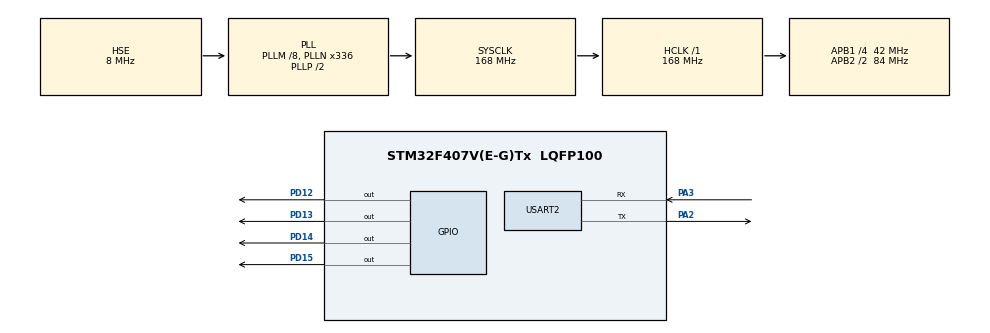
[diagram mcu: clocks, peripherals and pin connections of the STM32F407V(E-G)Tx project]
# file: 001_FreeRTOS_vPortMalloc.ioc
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FREERTOS.Tasks01=defaultTask,24,128,StartDefaultTask,Default,NULL,Dynamic,NULL,NULL
Mcu.Family=STM32F4
Mcu.Name=STM32F407V(E-G)Tx
Mcu.Package=LQFP100
NVIC.PriorityGroup=NVIC_PRIORITYGROUP_4
NVIC.TIM8_TRG_COM_TIM14_IRQn=true\:15\:0\:false\:false\:true\:false\:false\:true\:true
NVIC.TimeBase=TIM8_TRG_COM_TIM14_IRQn
NVIC.TimeBaseIP=TIM14
NVIC.USART2_IRQn=true\:5\:0\:false\:false\:true\:true\:true\:true\:true
PA2.Mode=Asynchronous
PA2.Signal=USART2_TX
PA3.Mode=Asynchronous
PA3.Signal=USART2_RX
PD12.Signal=GPIO_Output
PD13.Signal=GPIO_Output
PD14.Signal=GPIO_Output
PD15.Signal=GPIO_Output
PH0-OSC_IN.Mode=HSE-External-Oscillator
PH0-OSC_IN.Signal=RCC_OSC_IN
PH1-OSC_OUT.Mode=HSE-External-Oscillator
PH1-OSC_OUT.Signal=RCC_OSC_OUT
ProjectManager.HeapSize=0x200
ProjectManager.StackSize=0x400
ProjectManager.TargetToolchain=STM32CubeIDE
RCC.48MHZClocksFreq_Value=48000000
RCC.AHBFreq_Value=168000000
RCC.APB1CLKDivider=RCC_HCLK_DIV4
RCC.APB1Freq_Value=42000000
RCC.APB1TimFreq_Value=84000000
RCC.APB2CLKDivider=RCC_HCLK_DIV2
RCC.APB2Freq_Value=84000000
RCC.APB2TimFreq_Value=168000000
RCC.CortexFreq_Value=168000000
RCC.HCLKFreq_Value=168000000
RCC.HSE_VALUE=8000000
RCC.HSI_VALUE=16000000
RCC.LSE_VALUE=32768
RCC.PLLM=8
RCC.PLLN=336
RCC.PLLQ=7
RCC.PLLSourceVirtual=RCC_PLLSOURCE_HSE
RCC.SYSCLKFreq_VALUE=168000000
RCC.SYSCLKSource=RCC_SYSCLKSOURCE_PLLCLK
RCC.VCOOutputFreq_Value=336000000
USART2.VirtualMode=VM_ASYNC
VP_FREERTOS_VS_CMSIS_V2.Mode=CMSIS_V2
VP_SYS_VS_tim14.Mode=TIM14
board=STM32F407G-DISC1

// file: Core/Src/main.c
/* USER CODE BEGIN Header */
/**
  ******************************************************************************
  * @file           : main.c
  * @brief          : Main program body
  ******************************************************************************
  * @attention
  *
  * Copyright (c) 2023 STMicroelectronics.
  * All rights reserved.
  *
  * This software is licensed under terms that can be found in the LICENSE file
  * in the root directory of this software component.
  * If no LICENSE file comes with this software, it is provided AS-IS.
  *
  ******************************************************************************
  */
/* USER CODE END Header */
#include "main.h"

/* USER CODE BEGIN Includes */
#include "FreeRTOS.h"
#include "task.h"
/* USER CODE END Includes */
#include <string.h>
#include <stdio.h>

UART_HandleTypeDef huart2;

/* Definitions for defaultTask */

void SystemClock_Config(void);
static void MX_GPIO_Init(void);
static void MX_USART2_UART_Init(void);
void StartDefaultTask(void *argument);

/* USER CODE BEGIN 0 */
void Task1(void *pvParameters)
{
	typedef struct person
	{
		uint8_t age;
		char *name;
	}Unit;
	int count = 0;
	while(1)
	{
		Unit *ptr = pvPortMalloc(sizeof(Unit));
		if(ptr == NULL)
			HAL_GPIO_TogglePin(GPIOD,GPIO_PIN_13);
		ptr->age = 28;
		ptr->name = "Mehmet";
		char buffer[80];
		sprintf(buffer, "#%d times %s name and %d age written\r\n", count,ptr->name, ptr->age);
		HAL_UART_Transmit(&huart2,(uint8_t *)buffer, strlen(buffer), HAL_MAX_DELAY );

		//vPortFree(ptr);
		HAL_GPIO_TogglePin(GPIOD, GPIO_PIN_12);
		vTaskDelay(50);
		count++;
	}
}
/* USER CODE END 0 */

int main(void)
{

  /* MCU Configuration--------------------------------------------------------*/

  /* Reset of all peripherals, Initializes the Flash interface and the Systick. */
  HAL_Init();

  /* Configure the system clock */
  SystemClock_Config();

  /* Initialize all configured peripherals */
  MX_GPIO_Init();
  MX_USART2_UART_Init();
  /* USER CODE BEGIN 2 */
  xTaskCreate(Task1,"Task1", configMINIMAL_STACK_SIZE, NULL, 1, NULL);
  vTaskStartScheduler();
  /* USER CODE END 2 */

  /* Init scheduler */

  /* Create the thread(s) */
  /* creation of defaultTask */

  /* Start scheduler */
  /* We should never get here as control is now taken by the scheduler */
  /* Infinite loop */
  while (1)
  {

  }
}

void SystemClock_Config(void)
{
  RCC_OscInitTypeDef RCC_OscInitStruct = {0};
  RCC_ClkInitTypeDef RCC_ClkInitStruct = {0};

  /** Configure the main internal regulator output voltage
  */
  __HAL_RCC_PWR_CLK_ENABLE();
  __HAL_PWR_VOLTAGESCALING_CONFIG(PWR_REGULATOR_VOLTAGE_SCALE1);

  /** Initializes the RCC Oscillators according to the specified parameters
  * in the RCC_OscInitTypeDef structure.
  */
  RCC_OscInitStruct.OscillatorType = RCC_OSCILLATORTYPE_HSE;
  RCC_OscInitStruct.HSEState = RCC_HSE_ON;
  RCC_OscInitStruct.PLL.PLLState = RCC_PLL_ON;
  RCC_OscInitStruct.PLL.PLLSource = RCC_PLLSOURCE_HSE;
  RCC_OscInitStruct.PLL.PLLM = 8;
  RCC_OscInitStruct.PLL.PLLN = 336;
  RCC_OscInitStruct.PLL.PLLP = RCC_PLLP_DIV2;
  RCC_OscInitStruct.PLL.PLLQ = 7;
  if (HAL_RCC_OscConfig(&RCC_OscInitStruct) != HAL_OK)
  {
    Error_Handler();
  }

  /** Initializes the CPU, AHB and APB buses clocks
  */
  RCC_ClkInitStruct.ClockType = RCC_CLOCKTYPE_HCLK|RCC_CLOCKTYPE_SYSCLK
                              |RCC_CLOCKTYPE_PCLK1|RCC_CLOCKTYPE_PCLK2;
  RCC_ClkInitStruct.SYSCLKSource = RCC_SYSCLKSOURCE_PLLCLK;
  RCC_ClkInitStruct.AHBCLKDivider = RCC_SYSCLK_DIV1;
  RCC_ClkInitStruct.APB1CLKDivider = RCC_HCLK_DIV4;
  RCC_ClkInitStruct.APB2CLKDivider = RCC_HCLK_DIV2;

  if (HAL_RCC_ClockConfig(&RCC_ClkInitStruct, FLASH_LATENCY_5) != HAL_OK)
  {
    Error_Handler();
  }
}

static void MX_USART2_UART_Init(void)
{

  huart2.Instance = USART2;
  huart2.Init.BaudRate = 115200;
  huart2.Init.WordLength = UART_WORDLENGTH_8B;
  huart2.Init.StopBits = UART_STOPBITS_1;
  huart2.Init.Parity = UART_PARITY_NONE;
  huart2.Init.Mode = UART_MODE_TX_RX;
  huart2.Init.HwFlowCtl = UART_HWCONTROL_NONE;
  huart2.Init.OverSampling = UART_OVERSAMPLING_16;
  if (HAL_UART_Init(&huart2) != HAL_OK)
  {
    Error_Handler();
  }

}

static void MX_GPIO_Init(void)
{
  GPIO_InitTypeDef GPIO_InitStruct = {0};

  /* GPIO Ports Clock Enable */
  __HAL_RCC_GPIOH_CLK_ENABLE();
  __HAL_RCC_GPIOA_CLK_ENABLE();
  __HAL_RCC_GPIOD_CLK_ENABLE();

  /*Configure GPIO pin Output Level */
  HAL_GPIO_WritePin(GPIOD, GPIO_PIN_12|GPIO_PIN_13|GPIO_PIN_14|GPIO_PIN_15, GPIO_PIN_RESET);

  /*Configure GPIO pins : PD12 PD13 PD14 PD15 */
  GPIO_InitStruct.Pin = GPIO_PIN_12|GPIO_PIN_13|GPIO_PIN_14|GPIO_PIN_15;
  GPIO_InitStruct.Mode = GPIO_MODE_OUTPUT_PP;
  GPIO_InitStruct.Pull = GPIO_NOPULL;
  GPIO_InitStruct.Speed = GPIO_SPEED_FREQ_LOW;
  HAL_GPIO_Init(GPIOD, &GPIO_InitStruct);

}

void HAL_TIM_PeriodElapsedCallback(TIM_HandleTypeDef *htim)
{
  if (htim->Instance == TIM14) {
    HAL_IncTick();
  }
}

void Error_Handler(void)
{
  /* USER CODE BEGIN Error_Handler_Debug */
  /* User can add his own implementation to report the HAL error return state */
  __disable_irq();
  while (1)
  {
	  HAL_GPIO_WritePin(GPIOD, GPIO_PIN_14,GPIO_PIN_SET);

  }
  /* USER CODE END Error_Handler_Debug */
}
